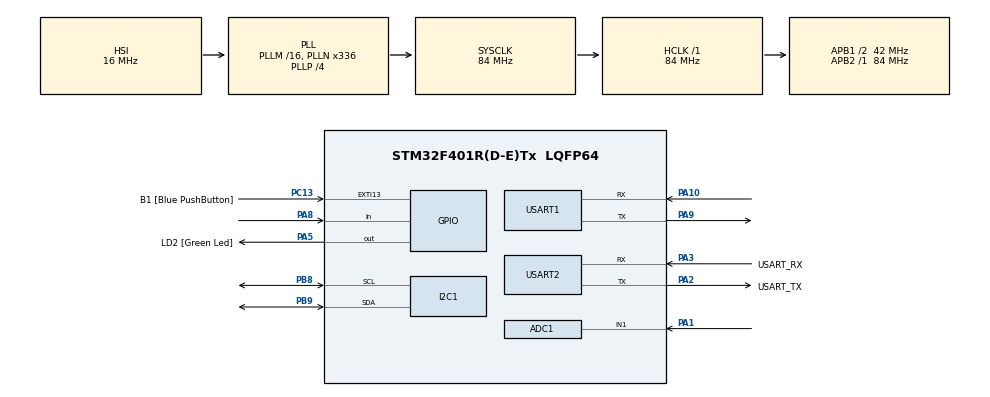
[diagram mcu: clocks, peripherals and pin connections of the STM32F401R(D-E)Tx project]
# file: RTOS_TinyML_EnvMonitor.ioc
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ADC1.Channel-1\#ChannelRegularConversion=ADC_CHANNEL_1
ADC1.NbrOfConversionFlag=1
ADC1.Rank-1\#ChannelRegularConversion=1
ADC1.SamplingTime-1\#ChannelRegularConversion=ADC_SAMPLETIME_3CYCLES
ADC1.master=1
FREERTOS.Tasks01=defaultTask,24,128,StartDefaultTask,Default,NULL,Dynamic,NULL,NULL;SensorTask,24,512,StartSensorTask,Default,NULL,Dynamic,NULL,NULL;TinyMLTask,24,512,StartTinyMLTask,Default,NULL,Dynamic,NULL,NULL;AlertTask,8,512,StartAlertTask,Default,NULL,Dynamic,NULL,NULL;UARTTask,16,128,StartUARTTask,Default,NULL,Dynamic,NULL,NULL
Mcu.Family=STM32F4
Mcu.Name=STM32F401R(D-E)Tx
Mcu.Package=LQFP64
NVIC.PriorityGroup=NVIC_PRIORITYGROUP_4
NVIC.TIM1_UP_TIM10_IRQn=true\:15\:0\:false\:false\:true\:false\:false\:true\:true
NVIC.TimeBase=TIM1_UP_TIM10_IRQn
NVIC.TimeBaseIP=TIM10
PA1.Signal=ADCx_IN1
PA10.Mode=Asynchronous
PA10.Signal=USART1_RX
PA13.GPIO_Label=TMS
PA13.Mode=Trace_Asynchronous_SW
PA13.Signal=SYS_JTMS-SWDIO
PA14.GPIO_Label=TCK
PA14.Mode=Trace_Asynchronous_SW
PA14.Signal=SYS_JTCK-SWCLK
PA2.GPIO_Label=USART_TX
PA2.GPIO_Mode=GPIO_MODE_AF_PP
PA2.GPIO_PuPd=GPIO_NOPULL
PA2.GPIO_Speed=GPIO_SPEED_FREQ_LOW
PA2.Mode=Asynchronous
PA2.Signal=USART2_TX
PA3.GPIO_Label=USART_RX
PA3.GPIO_Mode=GPIO_MODE_AF_PP
PA3.GPIO_PuPd=GPIO_NOPULL
PA3.GPIO_Speed=GPIO_SPEED_FREQ_LOW
PA3.Mode=Asynchronous
PA3.Signal=USART2_RX
PA5.GPIO_Label=LD2 [Green Led]
PA5.GPIO_Mode=GPIO_MODE_OUTPUT_PP
PA5.GPIO_PuPd=GPIO_NOPULL
PA5.GPIO_Speed=GPIO_SPEED_FREQ_LOW
PA5.Signal=GPIO_Output
PA8.GPIO_PuPd=GPIO_PULLUP
PA8.Signal=GPIO_Input
PA9.Mode=Asynchronous
PA9.Signal=USART1_TX
PB3.GPIO_Label=SWO
PB3.Mode=Trace_Asynchronous_SW
PB3.Signal=SYS_JTDO-SWO
PB8.Mode=I2C
PB8.Signal=I2C1_SCL
PB9.Mode=I2C
PB9.Signal=I2C1_SDA
PC13-ANTI_TAMP.GPIO_Label=B1 [Blue PushButton]
PC13-ANTI_TAMP.GPIO_ModeDefaultEXTI=GPIO_MODE_IT_FALLING
PC13-ANTI_TAMP.GPIO_PuPd=GPIO_NOPULL
PC13-ANTI_TAMP.Signal=GPXTI13
PC14-OSC32_IN.Mode=LSE-External-Oscillator
PC14-OSC32_IN.Signal=RCC_OSC32_IN
PC15-OSC32_OUT.Mode=LSE-External-Oscillator
PC15-OSC32_OUT.Signal=RCC_OSC32_OUT
PH0\ -\ OSC_IN.Mode=HSE-External-Clock-Source
PH0\ -\ OSC_IN.Signal=RCC_OSC_IN
PH1\ -\ OSC_OUT.Mode=HSE-External-Clock-Source
PH1\ -\ OSC_OUT.Signal=RCC_OSC_OUT
ProjectManager.HeapSize=0x800
ProjectManager.StackSize=0x800
ProjectManager.TargetToolchain=STM32CubeIDE
RCC.48MHZClocksFreq_Value=48000000
RCC.AHBFreq_Value=84000000
RCC.APB1CLKDivider=RCC_HCLK_DIV2
RCC.APB1Freq_Value=42000000
RCC.APB1TimFreq_Value=84000000
RCC.APB2Freq_Value=84000000
RCC.APB2TimFreq_Value=84000000
RCC.CortexFreq_Value=84000000
RCC.HCLKFreq_Value=84000000
RCC.HSE_VALUE=8000000
RCC.HSI_VALUE=16000000
RCC.PLLN=336
RCC.PLLP=RCC_PLLP_DIV4
RCC.PLLQ=7
RCC.SYSCLKFreq_VALUE=84000000
RCC.SYSCLKSource=RCC_SYSCLKSOURCE_PLLCLK
RCC.VCOOutputFreq_Value=336000000
SH.ADCx_IN1.0=ADC1_IN1,IN1
STMicroelectronics.X-CUBE-AI.10.1.0.HeapSize=0x800
STMicroelectronics.X-CUBE-AI.10.1.0.LatestDirectoryUsed-c5473a9f95ea37adb6bbb969e34b67100e8788e802684dd6a9e8e182da90f6b5=C\:\\Users\\Mujaid\\Desktop\\RTOS-Based TinyML Environmental Monitoring and Alert System\\TinyML\\models
STMicroelectronics.X-CUBE-AI.10.1.0.ModelActualCompression-c5473a9f95ea37adb6bbb969e34b67100e8788e802684dd6a9e8e182da90f6b5=0.0
STMicroelectronics.X-CUBE-AI.10.1.0.ModelCompression-c5473a9f95ea37adb6bbb969e34b67100e8788e802684dd6a9e8e182da90f6b5=None
STMicroelectronics.X-CUBE-AI.10.1.0.ModelFlashOccupation-c5473a9f95ea37adb6bbb969e34b67100e8788e802684dd6a9e8e182da90f6b5=11264
STMicroelectronics.X-CUBE-AI.10.1.0.ModelHashList=c5473a9f95ea37adb6bbb969e34b67100e8788e802684dd6a9e8e182da90f6b5
STMicroelectronics.X-CUBE-AI.10.1.0.ModelKind-c5473a9f95ea37adb6bbb969e34b67100e8788e802684dd6a9e8e182da90f6b5=TFLITE
STMicroelectronics.X-CUBE-AI.10.1.0.ModelMacc-c5473a9f95ea37adb6bbb969e34b67100e8788e802684dd6a9e8e182da90f6b5=259
STMicroelectronics.X-CUBE-AI.10.1.0.ModelName-c5473a9f95ea37adb6bbb969e34b67100e8788e802684dd6a9e8e182da90f6b5=network
STMicroelectronics.X-CUBE-AI.10.1.0.ModelNameList=network
STMicroelectronics.X-CUBE-AI.10.1.0.ModelRamOccupation-c5473a9f95ea37adb6bbb969e34b67100e8788e802684dd6a9e8e182da90f6b5=2080
STMicroelectronics.X-CUBE-AI.10.1.0.ModelStructureFile-c5473a9f95ea37adb6bbb969e34b67100e8788e802684dd6a9e8e182da90f6b5=C\:\\Users\\Mujaid\\Desktop\\RTOS-Based TinyML Environmental Monitoring and Alert System\\TinyML\\models\\env_model.tflite
STMicroelectronics.X-CUBE-AI.10.1.0.ModelType-c5473a9f95ea37adb6bbb969e34b67100e8788e802684dd6a9e8e182da90f6b5=STM32Cube.AI MCU runtime
STMicroelectronics.X-CUBE-AI.10.1.0.StackSize=0x800
STMicroelectronics.X-CUBE-AI.10.1.0.WorkingBufferStartAddrList=0xFFFFFFFF
STMicroelectronics.X-CUBE-AI.10.1.0.XAaCUBEAaAICcArtificialOoIntelligenceJjCore=true
STMicroelectronics.X-CUBE-AI.10.1.0.copyWeightToRam=false
STMicroelectronics.X-CUBE-AI.10.1.0.customLayerConfigEnabled=false
STMicroelectronics.X-CUBE-AI.10.1.0.noOnnxIoTranspose=false
STMicroelectronics.X-CUBE-AI.10.1.0.useInputAllocation=true
STMicroelectronics.X-CUBE-AI.10.1.0.useOutputAllocation=true
USART1.VirtualMode=VM_ASYNC
USART2.VirtualMode=VM_ASYNC
VP_FREERTOS_VS_CMSIS_V2.Mode=CMSIS_V2
VP_STMicroelectronics.X-CUBE-AI_VS_ArtificialOoIntelligenceJjXAaCUBEAaAI_10.1.0.Mode=ArtificialOoIntelligenceJjXAaCUBEAaAI
VP_SYS_VS_tim10.Mode=TIM10
board=NUCLEO-F401RE

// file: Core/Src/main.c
/* USER CODE BEGIN Header */
/* USER CODE END Header */
#include "main.h"
#include "cmsis_os.h"

#include <stdio.h>
#include <string.h>

#include "queue.h"
#include "ai_engine.h"
#include "sensor_manager.h"
#include "tinyml_engine.h"
#include "bmp280.h"
#include "mq2.h"
#include "sw420.h"

ADC_HandleTypeDef hadc1;

I2C_HandleTypeDef hi2c1;

UART_HandleTypeDef huart1;
UART_HandleTypeDef huart2;

/* Definitions for defaultTask */
osThreadId_t defaultTaskHandle;
const osThreadAttr_t defaultTask_attributes = {
  .name = "defaultTask",
  .stack_size = 512 * 4,
  .priority = (osPriority_t) osPriorityNormal,
};
/* Definitions for SensorTask */
osThreadId_t SensorTaskHandle;
const osThreadAttr_t SensorTask_attributes = {
  .name = "SensorTask",
  .stack_size = 512 * 4,
  .priority = (osPriority_t) osPriorityNormal,
};
/* Definitions for TinyMLTask */
osThreadId_t TinyMLTaskHandle;
const osThreadAttr_t TinyMLTask_attributes = {
  .name = "TinyMLTask",
  .stack_size = 512 * 4,
  .priority = (osPriority_t) osPriorityNormal,
};
/* Definitions for AlertTask */
osThreadId_t AlertTaskHandle;
const osThreadAttr_t AlertTask_attributes = {
  .name = "AlertTask",
  .stack_size = 512 * 4,
  .priority = (osPriority_t) osPriorityLow,
};
/* Definitions for UARTTask */
osThreadId_t UARTTaskHandle;
const osThreadAttr_t UARTTask_attributes = {
  .name = "UARTTask",
  .stack_size = 1024 * 4,
  .priority = (osPriority_t) osPriorityBelowNormal,
};
/* USER CODE BEGIN PV */
QueueHandle_t SensorQueue;
QueueHandle_t InferenceQueue;

/* USER CODE END PV */

void SystemClock_Config(void);
static void MX_GPIO_Init(void);
static void MX_USART2_UART_Init(void);
static void MX_I2C1_Init(void);
static void MX_ADC1_Init(void);
static void MX_USART1_UART_Init(void);
void StartDefaultTask(void *argument);
void StartSensorTask(void *argument);
void StartTinyMLTask(void *argument);
void StartAlertTask(void *argument);
void StartUARTTask(void *argument);

/* USER CODE BEGIN PFP */

const osThreadAttr_t defaultTask_attributes;
const osThreadAttr_t SensorTask_attributes;
const osThreadAttr_t TinyMLTask_attributes;
const osThreadAttr_t AlertTask_attributes;
const osThreadAttr_t UARTTask_attributes;
/* USER CODE END PFP */

/* USER CODE BEGIN 0 */
void I2C_Scan(void)
{
    char msg[64];

    HAL_UART_Transmit(&huart2,
                      (uint8_t *)"\r\nScanning I2C Bus...\r\n",
                      23,
                      HAL_MAX_DELAY);

    for(uint8_t addr = 1; addr < 128; addr++)
    {
        if(HAL_I2C_IsDeviceReady(&hi2c1,
                                 addr << 1,
                                 3,
                                 100) == HAL_OK)
        {
            sprintf(msg,
                    "Found device at 0x%02X\r\n",
                    addr);

            HAL_UART_Transmit(&huart2,
                              (uint8_t *)msg,
                              strlen(msg),
                              HAL_MAX_DELAY);
        }
    }

    HAL_UART_Transmit(&huart2,
                      (uint8_t *)"Scan Complete\r\n",
                      15,
                      HAL_MAX_DELAY);
}

/* USER CODE END 0 */

int main(void)
{

  /* MCU Configuration--------------------------------------------------------*/

  /* Reset of all peripherals, Initializes the Flash interface and the Systick. */
  HAL_Init();

  /* Configure the system clock */
  SystemClock_Config();

  /* Initialize all configured peripherals */
  MX_GPIO_Init();
  MX_USART2_UART_Init();
  MX_I2C1_Init();
  MX_ADC1_Init();
  MX_USART1_UART_Init();
  /* USER CODE BEGIN 2 */

  printf("=====================================\r\n");
  printf("RTOS TinyML Project Started\r\n");
  printf("USART2 Debug Console Ready\r\n");
  printf("=====================================\r\n");

  /* Initialize AI Engine */
  if (!AI_Init())
  {
      printf("ERROR: AI Initialization Failed!\r\n");
      Error_Handler();
  }

  printf("AI Model Initialized Successfully\r\n");

  AI_Input_t test =
  {
      .temperature = 55.0f,
      .pressure    = 980.0f,
      .gas         = 3500.0f,
      .vibration   = 1.0f
  };

  AI_Output_t result;

  if (AI_RunInference(&test, &result))
  {
      printf("\r\n=== AI TEST ===\r\n");
      printf("Probability : %.8f\r\n", result.probability);
      printf("Anomaly     : %d\r\n", result.anomaly);
  }
  else
  {
      printf("AI Test Failed!\r\n");
  }

  /* USER CODE END 2 */

  /* Init scheduler */
  osKernelInitialize();

  /* USER CODE BEGIN RTOS_QUEUES */
  SensorQueue = xQueueCreate(5, sizeof(SensorData_t));
  if (SensorQueue == NULL)
  {
      Error_Handler();
  }

  InferenceQueue = xQueueCreate(5, sizeof(ReportData_t));
  if (InferenceQueue == NULL)
  {
      Error_Handler();
  }
  /* USER CODE END RTOS_QUEUES */

  /* Create the thread(s) */
  /* creation of defaultTask */
  defaultTaskHandle = osThreadNew(StartDefaultTask, NULL, &defaultTask_attributes);

  /* creation of SensorTask */
  SensorTaskHandle = osThreadNew(StartSensorTask, NULL, &SensorTask_attributes);

  /* creation of TinyMLTask */
  TinyMLTaskHandle = osThreadNew(StartTinyMLTask, NULL, &TinyMLTask_attributes);

  /* creation of AlertTask */
  AlertTaskHandle = osThreadNew(StartAlertTask, NULL, &AlertTask_attributes);

  /* creation of UARTTask */
  UARTTaskHandle = osThreadNew(StartUARTTask, NULL, &UARTTask_attributes);

  /* Start scheduler */
  osKernelStart();

  /* We should never get here as control is now taken by the scheduler */

  /* Infinite loop */

}

void SystemClock_Config(void)
{
  RCC_OscInitTypeDef RCC_OscInitStruct = {0};
  RCC_ClkInitTypeDef RCC_ClkInitStruct = {0};

  /** Configure the main internal regulator output voltage
  */
  __HAL_RCC_PWR_CLK_ENABLE();
  __HAL_PWR_VOLTAGESCALING_CONFIG(PWR_REGULATOR_VOLTAGE_SCALE2);

  /** Initializes the RCC Oscillators according to the specified parameters
  * in the RCC_OscInitTypeDef structure.
  */
  RCC_OscInitStruct.OscillatorType = RCC_OSCILLATORTYPE_HSI;
  RCC_OscInitStruct.HSIState = RCC_HSI_ON;
  RCC_OscInitStruct.HSICalibrationValue = RCC_HSICALIBRATION_DEFAULT;
  RCC_OscInitStruct.PLL.PLLState = RCC_PLL_ON;
  RCC_OscInitStruct.PLL.PLLSource = RCC_PLLSOURCE_HSI;
  RCC_OscInitStruct.PLL.PLLM = 16;
  RCC_OscInitStruct.PLL.PLLN = 336;
  RCC_OscInitStruct.PLL.PLLP = RCC_PLLP_DIV4;
  RCC_OscInitStruct.PLL.PLLQ = 7;
  if (HAL_RCC_OscConfig(&RCC_OscInitStruct) != HAL_OK)
  {
    Error_Handler();
  }

  /** Initializes the CPU, AHB and APB buses clocks
  */
  RCC_ClkInitStruct.ClockType = RCC_CLOCKTYPE_HCLK|RCC_CLOCKTYPE_SYSCLK
                              |RCC_CLOCKTYPE_PCLK1|RCC_CLOCKTYPE_PCLK2;
  RCC_ClkInitStruct.SYSCLKSource = RCC_SYSCLKSOURCE_PLLCLK;
  RCC_ClkInitStruct.AHBCLKDivider = RCC_SYSCLK_DIV1;
  RCC_ClkInitStruct.APB1CLKDivider = RCC_HCLK_DIV2;
  RCC_ClkInitStruct.APB2CLKDivider = RCC_HCLK_DIV1;

  if (HAL_RCC_ClockConfig(&RCC_ClkInitStruct, FLASH_LATENCY_2) != HAL_OK)
  {
    Error_Handler();
  }
}

static void MX_ADC1_Init(void)
{

  ADC_ChannelConfTypeDef sConfig = {0};

  /** Configure the global features of the ADC (Clock, Resolution, Data Alignment and number of conversion)
  */
  hadc1.Instance = ADC1;
  hadc1.Init.ClockPrescaler = ADC_CLOCK_SYNC_PCLK_DIV4;
  hadc1.Init.Resolution = ADC_RESOLUTION_12B;
  hadc1.Init.ScanConvMode = DISABLE;
  hadc1.Init.ContinuousConvMode = DISABLE;
  hadc1.Init.DiscontinuousConvMode = DISABLE;
  hadc1.Init.ExternalTrigConvEdge = ADC_EXTERNALTRIGCONVEDGE_NONE;
  hadc1.Init.ExternalTrigConv = ADC_SOFTWARE_START;
  hadc1.Init.DataAlign = ADC_DATAALIGN_RIGHT;
  hadc1.Init.NbrOfConversion = 1;
  hadc1.Init.DMAContinuousRequests = DISABLE;
  hadc1.Init.EOCSelection = ADC_EOC_SINGLE_CONV;
  if (HAL_ADC_Init(&hadc1) != HAL_OK)
  {
    Error_Handler();
  }

  /** Configure for the selected ADC regular channel its corresponding rank in the sequencer and its sample time.
  */
  sConfig.Channel = ADC_CHANNEL_1;
  sConfig.Rank = 1;
  sConfig.SamplingTime = ADC_SAMPLETIME_3CYCLES;
  if (HAL_ADC_ConfigChannel(&hadc1, &sConfig) != HAL_OK)
  {
    Error_Handler();
  }

}

static void MX_I2C1_Init(void)
{

  hi2c1.Instance = I2C1;
  hi2c1.Init.ClockSpeed = 100000;
  hi2c1.Init.DutyCycle = I2C_DUTYCYCLE_2;
  hi2c1.Init.OwnAddress1 = 0;
  hi2c1.Init.AddressingMode = I2C_ADDRESSINGMODE_7BIT;
  hi2c1.Init.DualAddressMode = I2C_DUALADDRESS_DISABLE;
  hi2c1.Init.OwnAddress2 = 0;
  hi2c1.Init.GeneralCallMode = I2C_GENERALCALL_DISABLE;
  hi2c1.Init.NoStretchMode = I2C_NOSTRETCH_DISABLE;
  if (HAL_I2C_Init(&hi2c1) != HAL_OK)
  {
    Error_Handler();
  }

}

static void MX_USART1_UART_Init(void)
{

  huart1.Instance = USART1;
  huart1.Init.BaudRate = 115200;
  huart1.Init.WordLength = UART_WORDLENGTH_8B;
  huart1.Init.StopBits = UART_STOPBITS_1;
  huart1.Init.Parity = UART_PARITY_NONE;
  huart1.Init.Mode = UART_MODE_TX_RX;
  huart1.Init.HwFlowCtl = UART_HWCONTROL_NONE;
  huart1.Init.OverSampling = UART_OVERSAMPLING_16;
  if (HAL_UART_Init(&huart1) != HAL_OK)
  {
    Error_Handler();
  }

}

static void MX_USART2_UART_Init(void)
{

  huart2.Instance = USART2;
  huart2.Init.BaudRate = 115200;
  huart2.Init.WordLength = UART_WORDLENGTH_8B;
  huart2.Init.StopBits = UART_STOPBITS_1;
  huart2.Init.Parity = UART_PARITY_NONE;
  huart2.Init.Mode = UART_MODE_TX_RX;
  huart2.Init.HwFlowCtl = UART_HWCONTROL_NONE;
  huart2.Init.OverSampling = UART_OVERSAMPLING_16;
  if (HAL_UART_Init(&huart2) != HAL_OK)
  {
    Error_Handler();
  }

}

static void MX_GPIO_Init(void)
{
  GPIO_InitTypeDef GPIO_InitStruct = {0};

  /* GPIO Ports Clock Enable */
  __HAL_RCC_GPIOC_CLK_ENABLE();
  __HAL_RCC_GPIOH_CLK_ENABLE();
  __HAL_RCC_GPIOA_CLK_ENABLE();
  __HAL_RCC_GPIOB_CLK_ENABLE();

  /*Configure GPIO pin Output Level */
  HAL_GPIO_WritePin(LD2_GPIO_Port, LD2_Pin, GPIO_PIN_RESET);

  /*Configure GPIO pin : B1_Pin */
  GPIO_InitStruct.Pin = B1_Pin;
  GPIO_InitStruct.Mode = GPIO_MODE_IT_FALLING;
  GPIO_InitStruct.Pull = GPIO_NOPULL;
  HAL_GPIO_Init(B1_GPIO_Port, &GPIO_InitStruct);

  /*Configure GPIO pin : LD2_Pin */
  GPIO_InitStruct.Pin = LD2_Pin;
  GPIO_InitStruct.Mode = GPIO_MODE_OUTPUT_PP;
  GPIO_InitStruct.Pull = GPIO_NOPULL;
  GPIO_InitStruct.Speed = GPIO_SPEED_FREQ_LOW;
  HAL_GPIO_Init(LD2_GPIO_Port, &GPIO_InitStruct);

  /*Configure GPIO pin : PA8 */
  GPIO_InitStruct.Pin = GPIO_PIN_8;
  GPIO_InitStruct.Mode = GPIO_MODE_INPUT;
  GPIO_InitStruct.Pull = GPIO_PULLUP;
  HAL_GPIO_Init(GPIOA, &GPIO_InitStruct);

}

void StartDefaultTask(void *argument)
{
    vTaskDelete(NULL);
}
void StartSensorTask(void *argument)
{
    SensorData_t sensor;

    printf("SensorTask Started\r\n");

    if (SensorManager_Init() != HAL_OK)
    {
        printf("Sensor init failed\r\n");
        Error_Handler();
    }

    printf("Sensors initialized\r\n");

    for (;;)
    {
        printf("Sensor Loop\r\n");

        if (SensorManager_Read(&sensor) == HAL_OK)
        {
            printf("Sensor Read OK\r\n");

            if (xQueueSend(SensorQueue, &sensor, pdMS_TO_TICKS(100)) == pdPASS)
            {
                printf("Sensor Sent\r\n");
            }
            else
            {
                printf("Sensor Queue FULL\r\n");
            }
        }
        else
        {
            printf("Sensor Read Failed\r\n");
        }

        osDelay(1000);
    }
}

void StartTinyMLTask(void *argument)
{
    SensorData_t sensor;
    ReportData_t report;

    printf("TinyMLTask Started\r\n");

    for (;;)
    {
        if (xQueueReceive(SensorQueue, &sensor, portMAX_DELAY) == pdPASS)
        {
            printf("TinyML Received\r\n");

            report.sensor = sensor;

            TinyML_RunInference(&sensor, &report.inference);

            printf("Inference Done\r\n");

            if (xQueueSend(InferenceQueue, &report, pdMS_TO_TICKS(100)) == pdPASS)
            {
                printf("Inference Sent\r\n");
            }
            else
            {
                printf("Inference Queue FULL\r\n");
            }
        }
    }
}

void StartAlertTask(void *argument)
{
  for(;;)
  {
    osDelay(1);
  }
}

void StartUARTTask(void *argument)
{
    ReportData_t report;
    char msg[200];

    printf("UARTTask Started\r\n");

    for (;;)
    {
        if (xQueueReceive(InferenceQueue, &report, portMAX_DELAY) == pdPASS)
        {
            printf("UART Received Report\r\n");

            sprintf(msg,
                    "%.2f,%.2f,%u,%u,%.6f,%u\r\n",
                    report.sensor.temperature,
                    report.sensor.pressure,
                    report.sensor.gas,
                    report.sensor.vibration,
                    report.inference.probability,
                    report.inference.anomaly);

            printf("%s", msg);

            HAL_UART_Transmit(&huart1,
                              (uint8_t *)msg,
                              strlen(msg),
                              HAL_MAX_DELAY);

        }
    }
}

void HAL_TIM_PeriodElapsedCallback(TIM_HandleTypeDef *htim)
{
  if (htim->Instance == TIM10)
  {
    HAL_IncTick();
  }
}

void Error_Handler(void)
{
}
